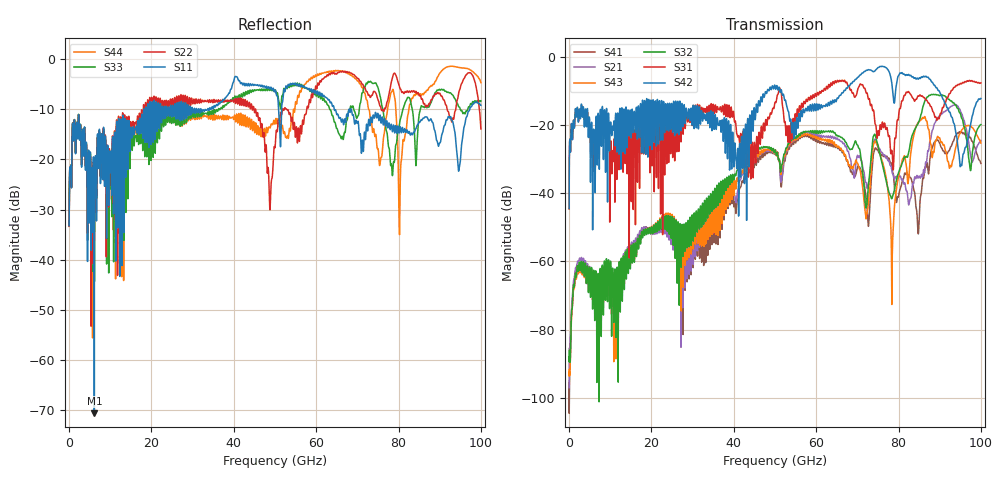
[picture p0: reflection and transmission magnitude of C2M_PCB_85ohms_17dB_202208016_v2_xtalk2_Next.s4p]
! Info: Touchstone file created by Circ.  Input file=Intel_C2M_200G_5p5in_202208016_staggered.circ
# Hz S RI R 50
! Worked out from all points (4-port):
!   10000 points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, 10 MHz to 100 GHz, reference 50 ohm
!   strongest paths, dB at 10 MHz, 25.01 GHz, 50.01 GHz, 75.01 GHz, 100 GHz:
!     S42: -44.5, -15.6, -8.6, -3.2, -12.3
!     S31: -44.7, -17.8, -13.4, -21.8, -7.7
!     S32: -88.1, -46.9, -27.5, -26.1, -19.9
!     S43: -91.8, -46.3, -27.7, -26.7, -25.3
!     S21: -97.0, -48.6, -27.7, -25.9, -24.6
!     S41: -95.4, -48.2, -28.0, -27.5, -31.3
!   lowest |S11| = -70.6 dB at 6.13 GHz (marker M1), VSWR 1.00, Z = 50 - j0.0293 ohm
!   |S11| at or under -10 dB: start of sweep to 18.12 GHz; 64.4 GHz to 67.94 GHz (3.547 GHz wide, 5.36 % of centre); 68.54 GHz to 97.28 GHz (28.75 GHz wide, 34.7 % of centre)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
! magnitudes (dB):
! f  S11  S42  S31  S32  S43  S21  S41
! 10 MHz  -33.2  -44.5  -44.7  -88.1  -91.8  -97.0  -95.4
! 6.13 GHz  -70.6  -22.7  -25.1  -67.1  -69.7  -64.6  -66.8
! 56.63 GHz  -5.4  -17.5  -14.3  -22.6  -23.2  -22.6  -23.5
! 74.54 GHz  -11.0  -3.8  -20.4  -23.9  -25.3  -24.7  -27.0
! 78.42 GHz  -14.0  -8.3  -27.8  -41.5  -64.5  -33.7  -32.9
! 85.03 GHz  -12.5  -6.2  -11.5  -18.8  -19.1  -35.0  -47.0
! 100 GHz  -9.2  -12.3  -7.7  -19.9  -25.3  -24.6  -31.3
